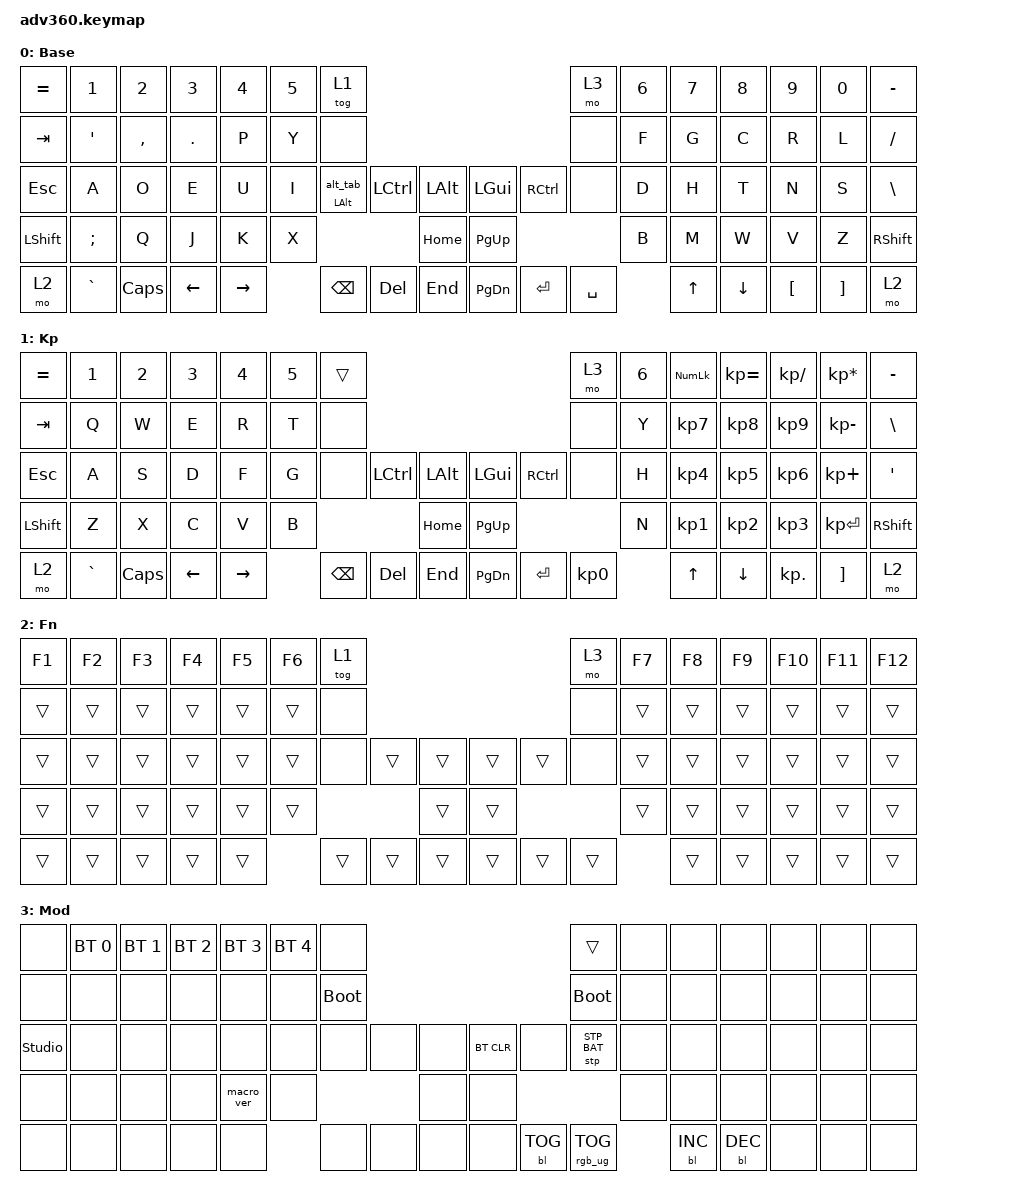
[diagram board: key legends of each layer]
#include <dt-bindings/zmk/stp.h>
#include <behaviors.dtsi>
#include <dt-bindings/zmk/backlight.h>
#include <dt-bindings/zmk/bt.h>
#include <dt-bindings/zmk/keys.h>
#include <dt-bindings/zmk/rgb.h>

/ {
    macros {
        alt_tab: alt_tab {
            compatible = "zmk,behavior-macro";
            label = "ALT_TAB";
            #binding-cells = <0>;
            bindings = <&macro_press &kp LALT>
                     , <&macro_tap &kp TAB>
                     , <&macro_pause_for_release>
                     , <&macro_release &kp LALT>;
        };
    };

    behaviors {
        #include "macros.dtsi"
        #include "version.dtsi"

        hm: homerow_mods {
            compatible = "zmk,behavior-hold-tap";
            label = "HOMEROW_MODS";
            #binding-cells = <2>;
            tapping-term-ms = <200>;
            quick_tap_ms = <175>;
            flavor = "tap-preferred";
            bindings = <&kp>, <&kp>;
        };

        alt_tab_ht: alt_tab_hold_tap {
            compatible = "zmk,behavior-hold-tap";
            label = "ALT_TAB_HOLD_TAP";
            #binding-cells = <2>;
            tapping-term-ms = <200>;
            quick-tap-ms = <0>;
            flavor = "hold-preferred";
            bindings = <&kp>, <&alt_tab>;
        };
    };

    keymap {
        compatible = "zmk,keymap";

        default_layer {
            display-name = "Base";
            bindings = <
&kp EQUAL  &kp N1  &kp N2     &kp N3      &kp N4     &kp N5  &tog 1                                                   &mo 3      &kp N6  &kp N7  &kp N8    &kp N9    &kp N0    &kp MINUS
&kp TAB    &kp SQT             &kp COMMA  &kp PERIOD  &kp P      &kp Y   &none                                                    &none      &kp F   &kp G   &kp C     &kp R     &kp L     &kp SLASH
&kp ESC    &kp A               &kp O      &kp E       &kp U      &kp I   &alt_tab_ht LALT 0     &kp LCTRL  &kp LALT      &kp LGUI   &kp RCTRL  &none      &kp D   &kp H   &kp T     &kp N     &kp S     &kp BACKSLASH
&kp LSHFT  &kp SEMICOLON       &kp Q      &kp J       &kp K      &kp X                        &kp HOME      &kp PG_UP                        &kp B   &kp M   &kp W     &kp V     &kp Z     &kp RSHFT
&mo 2      &kp GRAVE           &kp CAPS   &kp LEFT    &kp RIGHT          &kp BSPC  &kp DEL    &kp END       &kp PG_DN  &kp ENTER  &kp SPACE          &kp UP  &kp DOWN  &kp LBKT  &kp RBKT  &mo 2
            >;
        };

        keypad {
            display-name = "Kp";
            bindings = <
&kp EQUAL  &kp N1     &kp N2    &kp N3    &kp N4     &kp N5  &trans                                                   &mo 3      &kp N6  &kp KP_NUM  &kp KP_EQUAL  &kp KP_DIVIDE  &kp KP_MULTIPLY  &kp MINUS
&kp TAB    &kp Q      &kp W     &kp E     &kp R      &kp T   &none                                                    &none      &kp Y   &kp KP_N7   &kp KP_N8     &kp KP_N9      &kp KP_MINUS     &kp BSLH
&kp ESC    &kp A      &kp S     &kp D     &kp F      &kp G   &none     &kp LCTRL  &kp LALT      &kp LGUI   &kp RCTRL  &none      &kp H   &kp KP_N4   &kp KP_N5     &kp KP_N6      &kp KP_PLUS      &kp SQT
&kp LSHFT  &kp Z      &kp X     &kp C     &kp V      &kp B                        &kp HOME      &kp PG_UP                        &kp N   &kp KP_N1   &kp KP_N2     &kp KP_N3      &kp KP_ENTER     &kp RSHFT
&mo 2      &kp GRAVE  &kp CAPS  &kp LEFT  &kp RIGHT          &kp BSPC  &kp DEL    &kp END       &kp PG_DN  &kp ENTER  &kp KP_N0          &kp UP      &kp DOWN      &kp KP_DOT     &kp RBKT         &mo 2
            >;
        };

        fn {
            display-name = "Fn";
            bindings = <
&kp F1  &kp F2  &kp F3  &kp F4  &kp F5  &kp F6  &tog 1                                      &mo 3   &kp F7  &kp F8  &kp F9  &kp F10  &kp F11  &kp F12
&trans  &trans  &trans  &trans  &trans  &trans  &none                                       &none   &trans  &trans  &trans  &trans   &trans   &trans
&trans  &trans  &trans  &trans  &trans  &trans  &none   &trans  &trans      &trans  &trans  &none   &trans  &trans  &trans  &trans   &trans   &trans
&trans  &trans  &trans  &trans  &trans  &trans                  &trans      &trans                  &trans  &trans  &trans  &trans   &trans   &trans
&trans  &trans  &trans  &trans  &trans          &trans  &trans  &trans      &trans  &trans  &trans          &trans  &trans  &trans   &trans   &trans
            >;
        };

        mod {
            display-name = "Mod";
            bindings = <
&none           &bt BT_SEL 0  &bt BT_SEL 1  &bt BT_SEL 2  &bt BT_SEL 3  &bt BT_SEL 4  &none                                                  &trans           &none  &none       &none       &none  &none  &none
&none           &none         &none         &none         &none         &none         &bootloader                                            &bootloader      &none  &none       &none       &none  &none  &none
&studio_unlock  &none         &none         &none         &none         &none         &none        &none  &none      &bt BT_CLR  &none       &stp STP_BAT     &none  &none       &none       &none  &none  &none
&none           &none         &none         &none         &macro_ver    &none                             &none      &none                                    &none  &none       &none       &none  &none  &none
&none           &none         &none         &none         &none                       &none        &none  &none      &none       &bl BL_TOG  &rgb_ug RGB_TOG         &bl BL_INC  &bl BL_DEC  &none  &none  &none
            >;
        };

        extra1 {
            display-name = "Red";
            status = "reserved";
        };

        extra2 {
            display-name = "Purple";
            status = "reserved";
        };

        extra3 {
            display-name = "Cyan";
            status = "reserved";
        };

        extra4 {
            display-name = "Yellow";
            status = "reserved";
        };
    };
};
